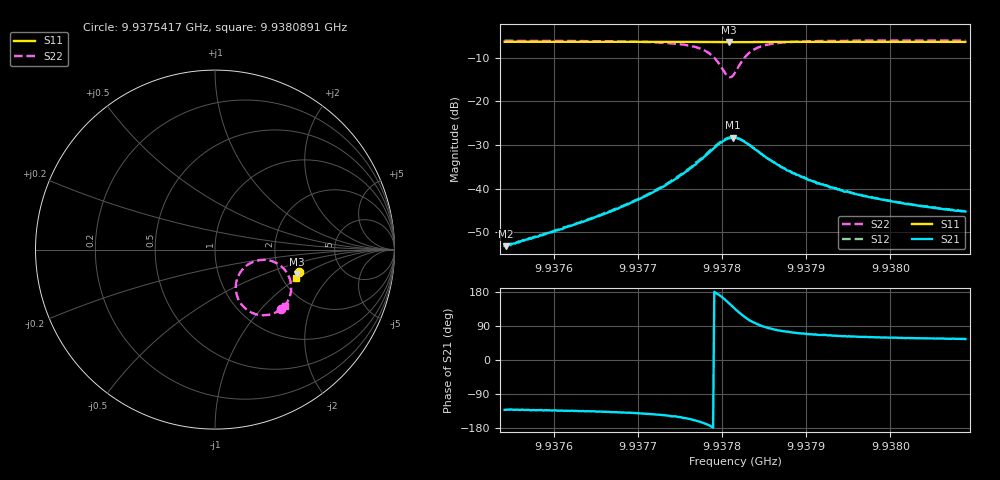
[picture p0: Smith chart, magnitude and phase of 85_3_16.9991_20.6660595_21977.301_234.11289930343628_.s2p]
#  HZ  S  RI  R  50.00
! Rohde & Schwarz Vector Network Analyzer
! Rohde-Schwarz,ZNB20-2Port,1311601062101988,3.16
! Created: UTC 3/20/2024, 10:55:54 PM
! freq[Hz]  re:S11  im:S11  re:S21  im:S21  re:S12  im:S12  re:S22  im:S22
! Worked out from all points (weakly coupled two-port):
!   401 points, 9.9375417 GHz to 9.9380891 GHz, reference 50 ohm
!   highest |S21| = -28.35 dB at 9.9378127 GHz (marker M1); lowest = -53.2 dB at 9.9375431 GHz (marker M2)
!   lowest |S11| = -6.4 dB at 9.9378086 GHz (marker M3), VSWR 2.82, Z = 123 - j43.8 ohm
!   |S11| at or under -10 dB: nowhere
!   |S22| runs from -14.5 to -6.0 dB; largest |S21 - S12| = 0.0022
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9.93754172e9  0.4668 -0.1221  -0.00146 -0.00165  -0.00148 -0.00162  0.3701 -0.3294
9.93754309e9  0.4667 -0.122  -0.00145 -0.00165  -0.0015 -0.00164  0.37 -0.3296
9.93763342e9  0.4644 -0.1282  -0.00292 -0.00295  -0.003 -0.00295  0.3521 -0.3423
9.93768268e9  0.4632 -0.1317  -0.00472 -0.00416  -0.00486 -0.00418  0.3337 -0.3522
9.93772511e9  0.4618 -0.1348  -0.00809 -0.00577  -0.00834 -0.00577  0.3023 -0.3627
9.93775795e9  0.4603 -0.1371  -0.0143 -0.00698  -0.0148 -0.00676  0.2488 -0.3643
9.93777848e9  0.4589 -0.1385  -0.0225 -0.00543  -0.0231 -0.00488  0.184 -0.3398
9.93778806e9  0.4578 -0.1386  -0.0276 -0.00172  -0.0286 -0.000965  0.1451 -0.3022
9.93779764e9  0.457 -0.1387  -0.0327 0.00578  -0.0333 0.00717  0.117 -0.2325
9.93780448e9  0.4565 -0.138  -0.0338 0.0139  -0.0339 0.0159  0.1228 -0.1648
9.93780859e9  0.4563 -0.1377  -0.0323 0.0193  -0.0322 0.0213  0.1427 -0.1243
9.9378127e9  0.4565 -0.1374  -0.0296 0.0242  -0.0289 0.026  0.1745 -0.0902
9.93781543e9  0.4568 -0.1371  -0.027 0.0271  -0.0261 0.0287  0.2003 -0.0738
9.93782228e9  0.4574 -0.137  -0.0192 0.0311  -0.0176 0.0321  0.2698 -0.0571
9.93782912e9  0.4581 -0.1373  -0.0114 0.0312  -0.0102 0.0318  0.3287 -0.0686
9.93783596e9  0.4587 -0.1377  -0.00564 0.0294  -0.00452 0.0296  0.3699 -0.0937
9.93784417e9  0.4591 -0.1385  -0.00118 0.0262  -0.000234 0.0261  0.3993 -0.1269
9.93787565e9  0.4591 -0.1416  0.00424 0.0161  0.00466 0.0161  0.4246 -0.2136
9.93790713e9  0.4586 -0.1442  0.00463 0.0113  0.00486 0.0112  0.4192 -0.2531
9.93794408e9  0.4577 -0.147  0.0043 0.00834  0.00455 0.0084  0.4104 -0.2771
9.93799882e9  0.4562 -0.1507  0.00374 0.0062  0.00389 0.00622  0.4002 -0.2963
9.93808914e9  0.454 -0.1567  0.00312 0.00449  0.00321 0.0045  0.3883 -0.3131
